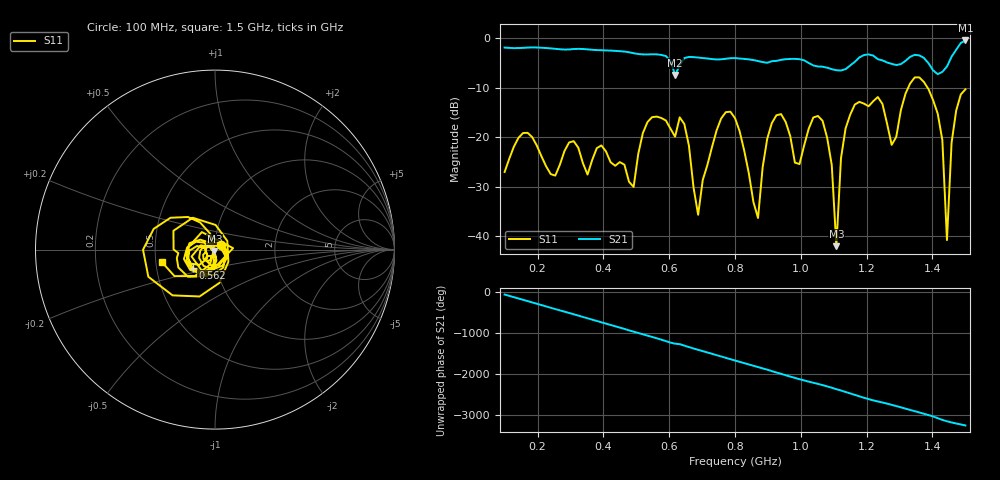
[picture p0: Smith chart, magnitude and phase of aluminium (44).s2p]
! NanoVNA-App
! Date: 2025-09-25 14:55:37
! Start: 100MHz Stop: 1,5GHz Points: 101
! S-Parameter data: F S11 S21 S12 S22
# Hz S RI R 50
!  Frequency  S11_Real  S11_Imag  S21_Real  S21_Imag  S12_Real  S12_Imag  S22_Real  S22_Imag
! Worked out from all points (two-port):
!   101 points, 100 MHz to 1.5 GHz, reference 50 ohm
!   highest |S21| = -0.49 dB at 1.5 GHz (marker M1); lowest = -7.4 dB at 618 MHz (marker M2)
!   |S21| within 3 dB of the highest: start of sweep to 581 MHz; 1.461 GHz to end of sweep (the widest 2 of 4)
!   lowest |S11| = -42.0 dB at 1.108 GHz (marker M3), VSWR 1.02, Z = 49.7 - j0.741 ohm
!   |S11| at or under -10 dB: start of sweep to 1.326 GHz; 1.385 GHz to end of sweep
!   S12 and S22 are empty: the file has one direction only
!   S11 on the Smith chart (normalised r, x): 100 MHz: 1.07, +0.06; 562 MHz: 0.76, -0.16; 1.5 GHz: 0.54, -0.08
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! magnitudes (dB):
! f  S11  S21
! 100 MHz  -27.0  -1.9
! 338 MHz  -25.2  -2.2
! 492 MHz  -30.0  -3.1
! 562 MHz  -15.8  -3.3
! 576 MHz  -16.1  -3.4
! 618 MHz  -19.9  -7.4
! 688 MHz  -35.6  -3.9
! 800 MHz  -16.1  -4.0
! 870 MHz  -36.3  -4.6
! 912 MHz  -17.1  -4.7
! 996 MHz  -25.4  -4.3
! 1.038 GHz  -16.0  -5.5
! 1.08 GHz  -20.1  -6.0
! 1.108 GHz  -42.0  -6.5
! 1.122 GHz  -24.2  -6.5
! 1.164 GHz  -13.4  -4.8
! 1.276 GHz  -21.5  -5.2
! 1.388 GHz  -10.3  -5.1
! 1.43 GHz  -20.6  -6.8
! 1.444 GHz  -40.7  -5.7
! 1.458 GHz  -21.1  -3.8
! 1.5 GHz  -10.3  -0.5
